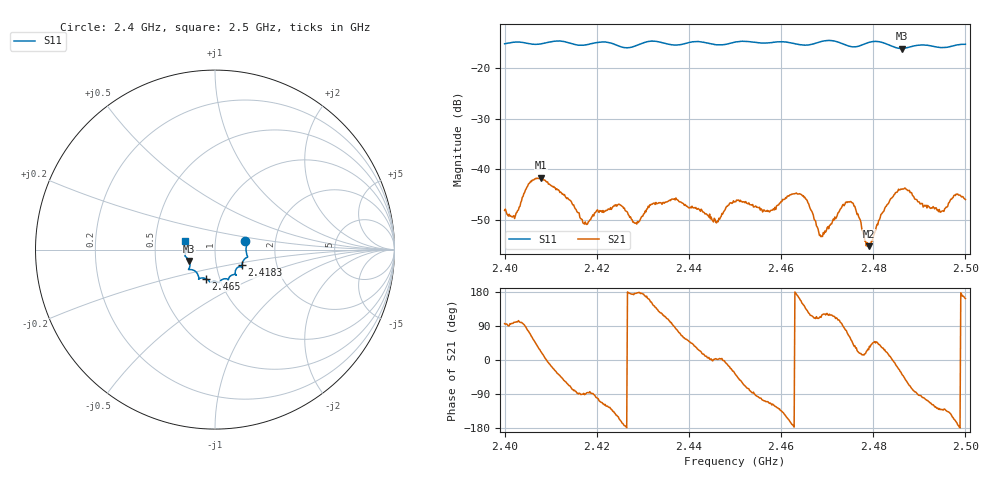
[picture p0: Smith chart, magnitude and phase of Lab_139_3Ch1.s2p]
# Hz S RI R 50
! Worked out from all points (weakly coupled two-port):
!   601 points, 2.4 GHz to 2.5 GHz, reference 50 ohm
!   highest |S21| = -41.65 dB at 2.4078 GHz (marker M1); lowest = -55.2 dB at 2.479 GHz (marker M2)
!   lowest |S11| = -16.1 dB at 2.4862 GHz (marker M3), VSWR 1.37, Z = 37.2 - j4.82 ohm
!   |S11| at or under -10 dB: start of sweep to end of sweep
!   S12 and S22 are empty: the file has one direction only
!   S11 on the Smith chart (normalised r, x): 2.4 GHz: 1.40, +0.14; 2.4183 GHz: 1.33, -0.24; 2.465 GHz: 0.86, -0.28; 2.5 GHz: 0.71, +0.07
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2.4e9  0.1687 0.0469  -0.000401 0.00391  0 0  0 0
2.402167e9  0.1778 0.0367  -0.000535 0.00322  0 0  0 0
2.405167e9  0.1751 0.0175  0.0017 0.00696  0 0  0 0
2.407833e9  0.174 -0.0137  0.00764 0.00318  0 0  0 0
2.416667e9  0.1546 -0.0682  -5.23e-05 -0.00323  0 0  0 0
2.418333e9  0.15 -0.0868  0.000179 -0.00307  0 0  0 0
2.424667e9  0.1374 -0.095  -0.00389 -0.00227  0 0  0 0
2.428667e9  0.1127 -0.1256  -0.00288 0.000178  0 0  0 0
2.433333e9  0.1173 -0.1408  -0.00297 0.00356  0 0  0 0
2.437167e9  0.0893 -0.1447  0.000696 0.00518  0 0  0 0
2.445833e9  0.0549 -0.1622  0.00299 0.000186  0 0  0 0
2.45e9  0.026 -0.18  0.00386 -0.00285  0 0  0 0
2.457167e9  -0.0109 -0.1781  -0.00132 -0.00361  0 0  0 0
2.465e9  -0.0524 -0.1613  -0.00425 0.00313  0 0  0 0
2.466667e9  -0.0712 -0.1576  -0.00174 0.00345  0 0  0 0
2.468833e9  -0.0884 -0.1624  -0.00105 0.00192  0 0  0 0
2.475167e9  -0.1023 -0.1283  0.00287 0.00385  0 0  0 0
2.479e9  -0.142 -0.1112  0.00155 0.000797  0 0  0 0
2.483333e9  -0.1411 -0.0966  0.0045 0.00113  0 0  0 0
2.486167e9  -0.1437 -0.0632  0.00512 -0.00376  0 0  0 0
2.494667e9  -0.1606 -0.000904  -0.00244 -0.0029  0 0  0 0
2.5e9  -0.1665 0.0467  -0.00479 0.00155  0 0  0 0
